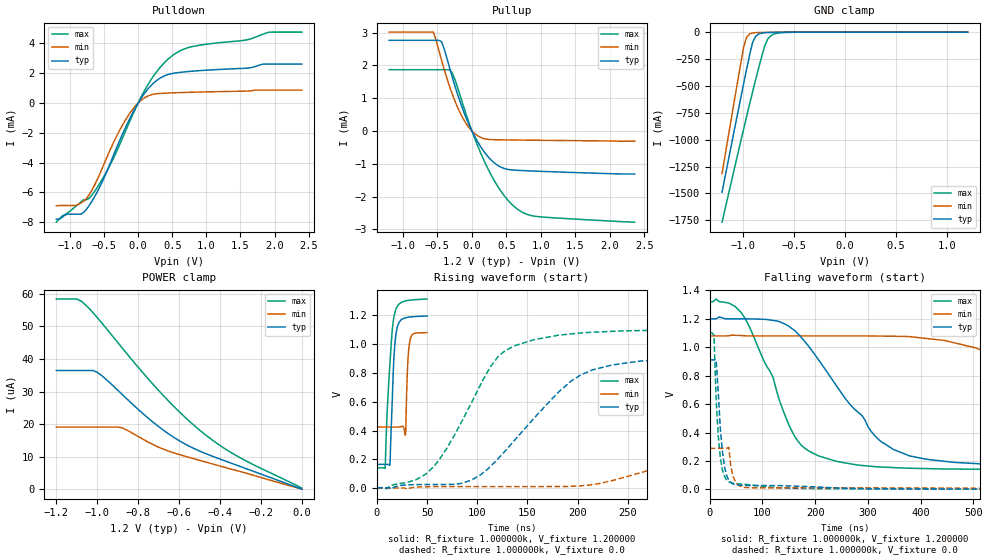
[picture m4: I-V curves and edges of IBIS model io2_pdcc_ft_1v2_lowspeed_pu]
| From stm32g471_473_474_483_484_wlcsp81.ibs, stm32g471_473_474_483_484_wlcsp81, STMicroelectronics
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|   Model io2_pdcc_ft_1v2_lowspeed_pu
[Model]  io2_pdcc_ft_1v2_lowspeed_pu
Model_type I/O
Polarity   Non-Inverting
Enable   Active-Low
Vinl =   0.360000V
Vinh =   0.840000V
Vmeas =  0.600000V
Cref =   40.000000pF
Rref =   100.000000M
Vref =   0.0V
C_comp   3.923200pF   3.103700pF   4.923200pF
[Temperature Range]   25.000000   -40.000000   0.125000k
[Pullup Reference]   1.200000V   1.080000V   1.320000V
[Pulldown Reference]   0.0V   0.0V   0.0V
[POWER Clamp Reference]   1.200000V   1.080000V   1.320000V
[GND Clamp Reference]   0.0V   0.0V   0.0V
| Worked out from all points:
|   slope of the pulldown table from 0 to 0.18 V, typ, clamps not added: 160 ohm
|   slope of the pullup table from 0 to 0.18 V, typ, clamps not added: 281 ohm
|   GND clamp passes 1 mA (typ) near -0.58 V on its own axis
|   rising waveform, R_fixture 1.000000k, V_fixture 1.200000: 20-80 % time 3.79ns typ, 2.26ns min, 5.76ns max; typ from 0.165 V to 1.19 V
|   rising waveform, R_fixture 1.000000k, V_fixture 0.0: 20-80 % time 73.2ns typ, 109ns min, 52.8ns max; typ from 0.003 V to 0.912 V
|   falling waveform, R_fixture 1.000000k, V_fixture 1.200000: 20-80 % time 124ns typ, 287ns min, 78.3ns max; typ from 1.2 V to 0.165 V
|   falling waveform, R_fixture 1.000000k, V_fixture 0.0: 20-80 % time 11.7ns typ, 10ns min, 10.2ns max; typ from 0.912 V to 0.003 V
[Pulldown]
|Voltage   I(typ)   I(min)   I(max)
-1.2V     -7.8mA     -6.9mA     -8mA
-920mV    -7.464mA   -6.88mA    -6.96mA
-760mV    -7.144mA   -6.413mA   -6.493mA
-480mV    -4.818mA   -3.873mA   -4.747mA
-280mV    -2.617mA   -1.907mA   -2.891mA
-80mV     -663.5uA   -423.3uA   -790.1uA
200mV     1.224mA    564.7uA    1.641mA
480mV     1.961mA    676.8uA    3.102mA
840mV     2.152mA    728.6uA    3.828mA
1.56V     2.329mA    794.4uA    4.21mA
1.92V     2.611mA    868.6uA    4.746mA
2.4V      2.611mA    868.6uA    4.759mA
[Pullup]
|Voltage   I(typ)   I(min)   I(max)
-1.2V     2.766mA    3.017mA    1.869mA
-560mV    2.766mA    3.017mA    1.869mA
-440mV    2.724mA    2.155mA    1.869mA
-320mV    1.896mA    1.332mA    1.869mA
-280mV    1.605mA    1.096mA    1.753mA
-160mV    820.1uA    504.5uA    1.006mA
0V        180fA      0A         5.08nA
200mV     -697.7uA   -244.9uA   -1.014mA
400mV     -1.08mA    -267.8uA   -1.772mA
600mV     -1.19mA    -273.6uA   -2.279mA
840mV     -1.216mA   -279.5uA   -2.568mA
2.36V     -1.31mA    -310uA     -2.78mA
[GND_clamp]
|Voltage   I(typ)   I(min)   I(max)
-1.2V     -1.489A    -1.316A    -1.768A
-990mV    -483.9mA   -143.2mA   -905.1mA
-960mV    -345.5mA   -47.06mA   -785.1mA
-930mV    -210.2mA   -16.78mA   -666.5mA
-900mV    -91.9mA    -7.899mA   -550mA
-870mV    -37.65mA   -5.169mA   -436mA
-780mV    -5.831mA   -2.725mA   -119.5mA
-750mV    -4.305mA   -2.173mA   -59.87mA
-720mV    -3.378mA   -1.668mA   -31.03mA
-660mV    -2.12mA    -830uA     -10.46mA
-480mV    -193.8uA   -7.86uA    -1.422mA
1.2V      0A         0A         248.8nA
[POWER_clamp]
|Voltage   I(typ)   I(min)   I(max)
-1.2V     36.48uA    19.09uA    58.42uA
-1.1V     36.48uA    19.09uA    58.42uA
-1.06V    36.48uA    19.09uA    56.81uA
-1.02V    36.48uA    19.09uA    54.19uA
-1V       35.91uA    19.09uA    52.74uA
-880mV    29.22uA    18.87uA    43.54uA
-780mV    23.41uA    15.48uA    36.01uA
-680mV    18.29uA    12.38uA    28.98uA
-580mV    14.2uA     10.29uA    22.64uA
-460mV    10.69uA    8.168uA    16.15uA
-300mV    6.945uA    5.404uA    9.607uA
0V        0A         0A         321.9nA
[Ramp]
| variable   typ   min   max
dV/dt_r  0.70121/37.61512n   0.61346/72.28476n   0.77582/31.93692n
dV/dt_f  0.70865/80.41082n   0.63055/0.18284u   0.78129/52.13311n
R_load = 10.000000k
[Rising Waveform]
R_fixture= 1.000000k
V_fixture= 1.200000
V_fixture_min= 1.080000
V_fixture_max= 1.320000
|time   V(typ)   V(min)   V(max)
0s        165.3mV    424.4mV    141mV
8.208ns   165.3mV    424.2mV    142.7mV
10.21ns   165.5mV    424.1mV    526.2mV
12.91ns   161.4mV    424mV      856.1mV
16.62ns   857.6mV    423.9mV    1.172V
18.92ns   1.064V     424mV      1.241V
28.43ns   1.182V     369.2mV    1.299V
30.73ns   1.185V     866.3mV    1.302V
33.63ns   1.188V     1.044V     1.304V
49.85ns   1.194V     1.079V     1.312V
[Rising Waveform]
R_fixture= 1.000000k
V_fixture= 0.0
V_fixture_min= 0.0
V_fixture_max= 0.0
|time   V(typ)   V(min)   V(max)
0s        3.071mV    2.063mV    3.623mV
49.65ns   25.61mV    10.48mV    104.4mV
68.87ns   26.17mV    11.31mV    268.5mV
94.49ns   57.81mV    11.36mV    597.3mV
121.7ns   212.5mV    11.24mV    919.4mV
157ns     488.7mV    11.44mV    1.031V
203.4ns   787.1mV    17.06mV    1.077V
262.7ns   882mV      107.5mV    1.094V
402ns     909.1mV    266.9mV    1.101V
797.6ns   911.5mV    289.4mV    1.101V
[Falling Waveform]
R_fixture= 1.000000k
V_fixture= 1.200000
V_fixture_min= 1.080000
V_fixture_max= 1.320000
|time   V(typ)   V(min)   V(max)
0s        1.2V       1.08V      1.32V
66.07ns   1.2V       1.081V     1.208V
132.1ns   1.18V      1.08V      626.5mV
174.2ns   1.068V     1.08V      309.4mV
282.3ns   539.8mV    1.08V      170.9mV
324.3ns   338.7mV    1.079V     157.7mV
414.4ns   211mV      1.061V     146.5mV
750.8ns   166.3mV    626.6mV    141.1mV
1.009us   165.3mV    464.6mV    141mV
2.991us   165.3mV    424.9mV    141mV
[Falling Waveform]
R_fixture= 1.000000k
V_fixture= 0.0
V_fixture_min= 0.0
V_fixture_max= 0.0
|time   V(typ)   V(min)   V(max)
0s        911.6mV    289.3mV    1.101V
8.008ns   911.6mV    289.3mV    1.085V
12.01ns   911.7mV    289.3mV    634.2mV
20.02ns   424.8mV    289.3mV    222.5mV
28.03ns   156.9mV    289.4mV    91.78mV
32.03ns   98.21mV    289.4mV    66.22mV
36.04ns   64.2mV     296.5mV    54.46mV
40.04ns   47.53mV    160.4mV    48.55mV
48.05ns   35.37mV    58.92mV    41.79mV
1.994us   3.071mV    2.063mV    3.623mV
